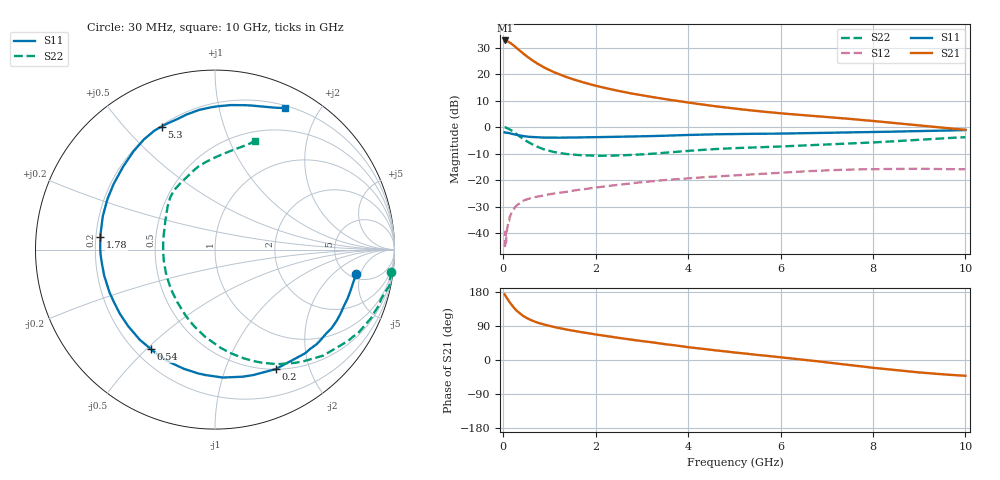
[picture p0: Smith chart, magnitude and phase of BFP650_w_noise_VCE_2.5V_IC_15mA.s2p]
! Infineon Technologies  Discrete & RF Semiconductors
! BFP650
! VCE =  2.5 V,  IC =  15 mA
! Common Emitter S-Parameters:  Jan 2016
# GHz  S  MA  R  50
!  f  S11  S21  S12  S22
! GHz  MAG  ANG  MAG  ANG  MAG  ANG  MAG  ANG
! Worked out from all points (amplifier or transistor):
!   229 points, 30 MHz to 10 GHz, reference 50 ohm
!   highest |S21| = 32.7 dB at 40 MHz (marker M1)
!   |S21| within 3 dB of that: start of sweep to 302.5 MHz
!   unconditionally stable (mu >= 1): 2.957 GHz to end of sweep
!   at 280 MHz: K = 0.17, MSG = 29.9 dB, |S12| = -29.8 dB
!   at 1.78 GHz: K = 0.83, MSG = 20.0 dB, |S12| = -23.3 dB
!   at 10 GHz: K = 1.05, MAG = 6.1 dB, |S12| = -15.9 dB
!   lowest NFmin = 0.62 dB at 450 MHz
!   S11 on the Smith chart (normalised r, x): 30 MHz: 5.62, -4.25; 200 MHz: 0.50, -1.51; 540 MHz: 0.26, -0.51; 1.78 GHz: 0.22, +0.05; 5.3 GHz: 0.21, +0.64; 10 GHz: 0.23, +1.58
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0.03  0.7979 -9.9  42.88 173.3  0.0063 83.8  0.9893 -7.1
0.04  0.7911 -13.8  43.05 171.1  0.0057 78.4  0.9883 -9.6
0.06  0.7872 -20.3  42.69 167.4  0.0067 95.7  0.9768 -14.0
0.11  0.7763 -36.9  40.91 157.7  0.0164 67.9  0.9397 -25.9
0.14  0.7664 -46.1  39.37 152.3  0.0201 68.0  0.9095 -32.2
0.2  0.7468 -63.1  36.16 142.4  0.0265 60.3  0.8441 -44.4
0.26  0.7248 -77.7  32.79 134.1  0.0311 55.6  0.7716 -54.9
0.36  0.6958 -98.0  27.57 122.8  0.0372 48.7  0.6645 -69.9
0.45  0.676 -112.1  23.75 114.9  0.0417 44.1  0.586 -81.0
0.54  0.6589 -123.0  20.69 109.1  0.0443 41.0  0.5228 -90.3
0.7  0.6451 -138.6  16.53 100.4  0.0483 37.8  0.4419 -105.3
0.9  0.6349 -152.2  13.12 93.0  0.0524 35.5  0.3765 -120.4
1.3  0.6339 -170.7  9.23 82.0  0.0591 34.1  0.3171 -144.2
1.7  0.6406 176.2  7.104 73.3  0.0667 32.8  0.2948 -162.6
1.78  0.6426 173.8  6.792 71.6  0.0683 32.6  0.2932 -166.0
2.4  0.6561 158.9  5.01 60.1  0.0799 30.0  0.291 172.9
3.4  0.685 139.7  3.488 43.6  0.0988 24.1  0.3234 148.3
5.1  0.745 115.7  2.19 18.7  0.1244 12.2  0.4047 123.0
5.3  0.7472 113.4  2.096 16.2  0.1276 10.7  0.4098 120.4
6.8  0.7768 98.6  1.604 -3.4  0.1505 -1.6  0.4624 103.6
8.4  0.8211 78.5  1.21 -25.6  0.1627 -17.3  0.5377 84.6
10  0.8792 63.8  0.892 -41.7  0.1608 -29.0  0.6471 69.7
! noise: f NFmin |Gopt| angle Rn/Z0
0.45  0.62  0.09  77  0.63
0.9  0.63  0.13  149  0.3
1.9  0.82  0.25  177  0.05
2.4  0.9  0.27  -167  0.07
3.5  1.2  0.32  -133  0.12
